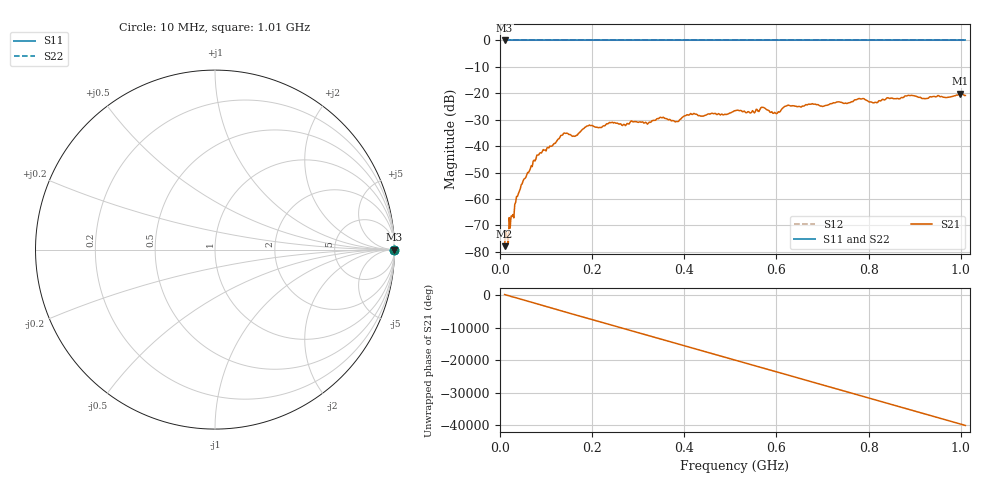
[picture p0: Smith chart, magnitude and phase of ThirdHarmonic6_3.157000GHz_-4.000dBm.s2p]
! 8/17/2025 9:28:02 AM
! C:\ANRITSUVNA\TEMP\TEMP.S2P
! CHANNEL.1
! TR.MEASUREMENT
! RAW.DATA
! RF.CORRECTION.OFF
! AVERAGING.OFF
! IF.BANDWIDTH: 5KHZ
! SWEEPTYPE:  FREQ.SWEEP(Linear)
! Reference Plane Port Info
! PORT:  PORT1  PORT2
! DISTANCE:  0  m  0  m
! TIME:  0  s  0  s
! PHASE.OFFSET:  0  deg.  0  deg.
! LOSS:  0  dB  0  dB
! REF.LOSS:  0  dB  0  dB
! REF.FREQ:  0  Hz  0  Hz
! Power Info
! POWER:  -20  dBm  -20  dBm
! EFF.POWER:  -20  dBm  -20  dBm
! SOURCE.ATTEN:  0  dB  0  dB
! TEST.ATTEN:  0  dB  0  dB
# GHZ S RI R 50.0
! FREQ.GHZ  S11RE  S11IM  S21RE  S21IM  S12RE  S12IM  S22RE  S22IM
!; PortSelection: Port_12
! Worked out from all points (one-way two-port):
!   501 points, 10 MHz to 1.01 GHz, reference 50 ohm
!   highest |S21| = -20.16 dB at 998 MHz (marker M1); lowest = -77.8 dB at 10 MHz (marker M2)
!   lowest |S11| = 0.0 dB at 10 MHz (marker M3)
!   |S11| at or under -10 dB: nowhere
!   |S22| runs from 0.0 to 0.0 dB; largest |S21 - S12| = 1.1
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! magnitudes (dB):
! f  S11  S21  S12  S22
! 10 MHz  0.0  -77.8  0.0  0.0
! 14 MHz  0.0  -72.8  0.0  0.0
! 40 MHz  0.0  -57.9  0.0  0.0
! 76 MHz  0.0  -45.6  0.0  0.0
! 136 MHz  0.0  -35.8  0.0  0.0
! 162 MHz  0.0  -36.3  0.0  0.0
! 178 MHz  0.0  -33.8  0.0  0.0
! 192 MHz  0.0  -32.2  0.0  0.0
! 322 MHz  0.0  -31.3  0.0  0.0
! 344 MHz  0.0  -29.6  0.0  0.0
! 384 MHz  0.0  -30.6  0.0  0.0
! 410 MHz  0.0  -28.3  0.0  0.0
! 510 MHz  0.0  -26.6  0.0  0.0
! 570 MHz  0.0  -25.3  0.0  0.0
! 598 MHz  0.0  -27.5  0.0  0.0
! 622 MHz  0.0  -24.8  0.0  0.0
! 678 MHz  0.0  -23.9  0.0  0.0
! 784 MHz  0.0  -22.2  0.0  0.0
! 814 MHz  0.0  -23.4  0.0  0.0
! 844 MHz  0.0  -21.9  0.0  0.0
! 998 MHz  0.0  -20.2  0.0  0.0
! 1.01 GHz  0.0  -20.8  0.0  0.0
